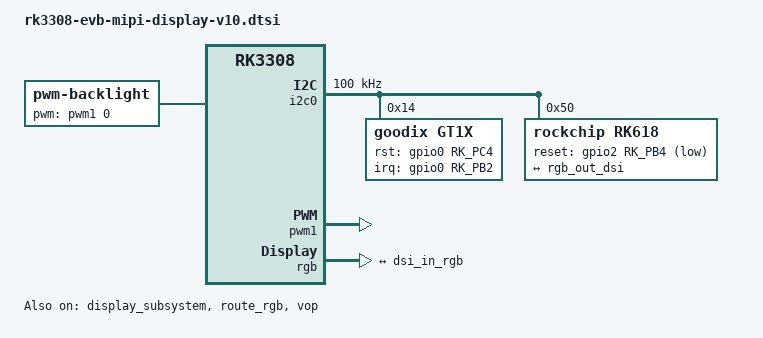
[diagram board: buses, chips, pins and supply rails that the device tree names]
// SPDX-License-Identifier: (GPL-2.0+ OR MIT)
/*
 * Copyright (c) 2018 Fuzhou Rockchip Electronics Co., Ltd
 *
 */
#include <dt-bindings/display/drm_mipi_dsi.h>
#include <dt-bindings/clock/rk618-cru.h>

/ {
	backlight: backlight {
		status = "okay";
		compatible = "pwm-backlight";
		pwms = <&pwm1 0 25000 0>;
		brightness-levels = <
			  0   1   2   3   4   5   6   7
			  8   9  10  11  12  13  14  15
			 16  17  18  19  20  21  22  23
			 24  25  26  27  28  29  30  31
			 32  33  34  35  36  37  38  39
			 40  41  42  43  44  45  46  47
			 48  49  50  51  52  53  54  55
			 56  57  58  59  60  61  62  63
			 64  65  66  67  68  69  70  71
			 72  73  74  75  76  77  78  79
			 80  81  82  83  84  85  86  87
			 88  89  90  91  92  93  94  95
			 96  97  98  99 100 101 102 103
			104 105 106 107 108 109 110 111
			112 113 114 115 116 117 118 119
			120 121 122 123 124 125 126 127
			128 129 130 131 132 133 134 135
			136 137 138 139 140 141 142 143
			144 145 146 147 148 149 150 151
			152 153 154 155 156 157 158 159
			160 161 162 163 164 165 166 167
			168 169 170 171 172 173 174 175
			176 177 178 179 180 181 182 183
			184 185 186 187 188 189 190 191
			192 193 194 195 196 197 198 199
			200 201 202 203 204 205 206 207
			208 209 210 211 212 213 214 215
			216 217 218 219 220 221 222 223
			224 225 226 227 228 229 230 231
			232 233 234 235 236 237 238 239
			240 241 242 243 244 245 246 247
			248 249 250 251 252 253 254 255>;
		default-brightness-level = <200>;
	};
};

&i2c0 {
	clock-frequency = <100000>;
	status = "okay";

        gt1x: gt1x@14 {
                compatible = "goodix,gt1x";
                reg = <0x14>;

		pinctrl-names = "default";
		pinctrl-0 = <&tp_int>;

                //power-supply = <&vcc18_lcd_n>;
                goodix,rst-gpio = <&gpio0 RK_PC4 GPIO_ACTIVE_HIGH>;
                //goodix,irq-gpio = <&gpio4 RK_PC0 IRQ_TYPE_LEVEL_LOW>;
		goodix,irq-gpio = <&gpio0 RK_PB2 IRQ_TYPE_LEVEL_LOW>;
        };

	rk618@50 {
		compatible = "rockchip,rk618";
		reg = <0x50>;
		pinctrl-names = "default";
		pinctrl-0 = <&i2s_8ch_0_mclk>;
		clocks = <&cru SCLK_I2S0_8CH_TX_OUT>;
		clock-names = "clkin";
		assigned-clocks = <&cru SCLK_I2S0_8CH_TX_OUT>;
		assigned-clock-rates = <12000000>;
		//reset-gpios = <&gpio0 RK_PA4 GPIO_ACTIVE_LOW>;
		reset-gpios = <&gpio2 RK_PB4 GPIO_ACTIVE_LOW>;
		status = "okay";

		clock: cru {
			compatible = "rockchip,rk618-cru";
			clocks = <&cru SCLK_I2S0_8CH_TX_OUT>, <&cru DCLK_VOP>;
			clock-names = "clkin", "lcdc0_dclkp";
			assigned-clocks = <&clock SCALER_PLLIN_CLK>,
					  <&clock VIF_PLLIN_CLK>,
					  <&clock SCALER_CLK>,
					  <&clock VIF0_PRE_CLK>,
					  <&clock CODEC_CLK>,
					  <&clock DITHER_CLK>;
			assigned-clock-parents = <&cru SCLK_I2S0_8CH_TX_OUT>,
						 <&clock LCDC0_CLK>,
						 <&clock SCALER_PLL_CLK>,
						 <&clock VIF_PLL_CLK>,
						 <&cru SCLK_I2S0_8CH_TX_OUT>,
						 <&clock VIF0_CLK>;
			#clock-cells = <1>;
			status = "okay";
		};

		dsi {
			compatible = "rockchip,rk618-dsi";
			clocks = <&clock MIPI_CLK>;
			clock-names = "dsi";
			#address-cells = <1>;
			#size-cells = <0>;
			status = "okay";

			ports {
				#address-cells = <1>;
				#size-cells = <0>;

				port@0 {
					reg = <0>;

					dsi_in_rgb: endpoint {
						remote-endpoint = <&rgb_out_dsi>;
					};
				};
			};

			panel@0 {
				compatible = "sitronix,st7703", "simple-panel-dsi";
				reg = <0>;
				enable-gpio = <&gpio2 RK_PB3 GPIO_ACTIVE_LOW>;
				backlight = <&backlight>;
				prepare-delay-ms = <2>;
				reset-delay-ms = <1>;
				init-delay-ms = <20>;
				enable-delay-ms = <120>;
				disable-delay-ms = <50>;
				unprepare-delay-ms = <20>;

				width-mm = <68>;
				height-mm = <121>;

				dsi,flags = <(MIPI_DSI_MODE_VIDEO | MIPI_DSI_MODE_VIDEO_BURST |
					      MIPI_DSI_MODE_LPM | MIPI_DSI_MODE_EOT_PACKET)>;
				dsi,format = <MIPI_DSI_FMT_RGB888>;
				dsi,lanes = <4>;

				panel-init-sequence = [
					05 fa 01 11
					39 00 04 b9 f1 12 83
					39 00 1c ba 33 81 05 f9 0e 0e 00 00 00
						 00 00 00 00 00 44 25 00 91 0a
						 00 00 02 4f 01 00 00 37
					15 00 02 b8 25
					39 00 04 bf 02 11 00
					39 00 0b b3 0c 10 0a 50 03 ff 00 00 00
						 00
					39 00 0a c0 73 73 50 50 00 00 08 70 00
					15 00 02 bc 46
					15 00 02 cc 0b
					15 00 02 b4 80
					39 00 04 b2 c8 12 30
					39 00 0f e3 07 07 0b 0b 03 0b 00 00 00
						 00 ff 00 c0 10
					39 00 0d c1 53 00 1e 1e 77 e1 cc dd 67
						 77 33 33
					39 00 07 c6 00 00 ff ff 01 ff
					39 00 03 b5 09 09
					39 00 03 b6 87 95
					39 00 40 e9 c2 10 05 05 10 05 a0 12 31
						 23 3f 81 0a a0 37 18 00 80 01
						 00 00 00 00 80 01 00 00 00 48
						 f8 86 42 08 88 88 80 88 88 88
						 58 f8 87 53 18 88 88 81 88 88
						 88 00 00 00 01 00 00 00 00 00
						 00 00 00 00
					39 00 3e ea 00 1a 00 00 00 00 02 00 00
						 00 00 00 1f 88 81 35 78 88 88
						 85 88 88 88 0f 88 80 24 68 88
						 88 84 88 88 88 23 10 00 00 1c
						 00 00 00 00 00 00 00 00 00 00
						 00 00 00 00 00 30 05 a0 00 00
						 00 00
					39 00 23 e0 00 06 08 2a 31 3f 38 36 07
						 0c 0d 11 13 12 13 11 18 00 06
						 08 2a 31 3f 38 36 07 0c 0d 11
						 13 12 13 11 18
					05 32 01 29
				];

				panel-exit-sequence = [
					05 00 01 28
					05 00 01 10
				];

				display-timings {
					//native-mode = <&timing0>;
					native-mode = <&timing1>;

					timing1: timing1 {
						clock-frequency = <64000000>;
						hactive = <720>;
						vactive = <1280>;
						hfront-porch = <40>;
						hsync-len = <10>;
						hback-porch = <40>;
						vfront-porch = <22>;
						vsync-len = <4>;
						vback-porch = <11>;
						hsync-active = <0>;
						vsync-active = <0>;
						de-active = <0>;
						pixelclk-active = <0>;
					};
				};
			};
		};
	};
};


&display_subsystem {
	status = "okay";
};

&pinctrl {
	lcd {
		lcd_en: lcd-en {
			rockchip,pins = <2 RK_PB3 RK_FUNC_GPIO &pcfg_pull_up>;
		};
		tp_int: tp-int {
			//rockchip,pins =	<4 RK_PC0 RK_FUNC_GPIO &pcfg_pull_none>;
			rockchip,pins = <0 RK_PB2 RK_FUNC_GPIO &pcfg_pull_none>;
		};
	};
};

&pwm1 {
	status = "okay";
};

&rgb {
	status = "okay";
	pinctrl-names = "default";
	pinctrl-0 = <&lcdc_ctl &lcdc_rgb888_m0>;

	ports {
		rgb_out: port@1 {
			reg = <1>;
			#address-cells = <1>;
			#size-cells = <0>;

			rgb_out_dsi: endpoint@0 {
				reg = <0>;
				remote-endpoint = <&dsi_in_rgb>;
			};
		};
	};
};

&route_rgb {
	logo,kernel = "logo_kernel.bmp";
	status = "okay";
};

&vop {
	status = "okay";
};
